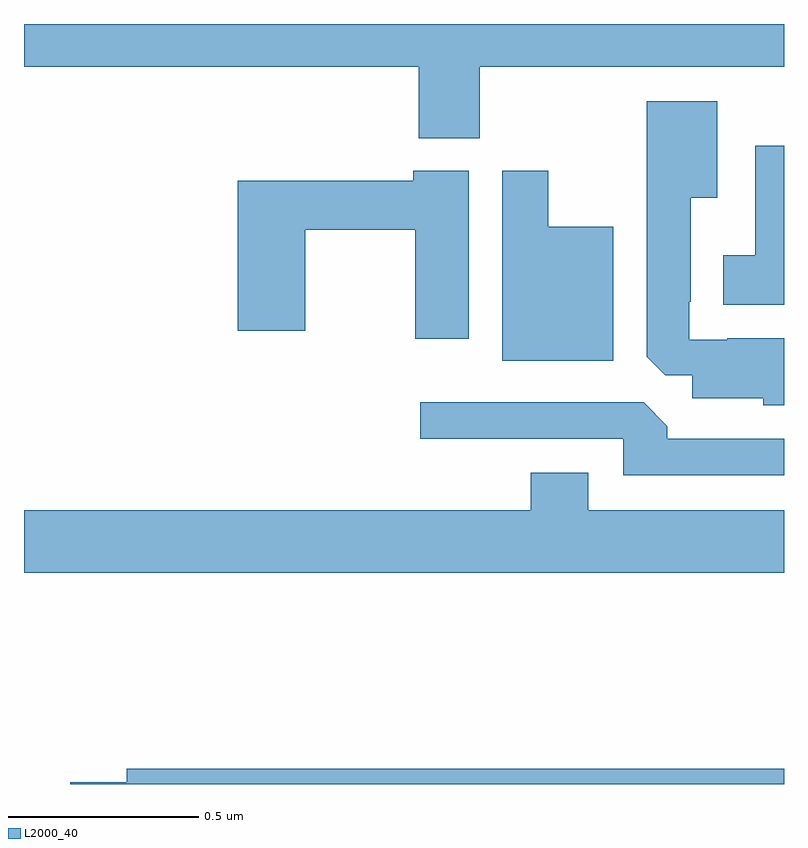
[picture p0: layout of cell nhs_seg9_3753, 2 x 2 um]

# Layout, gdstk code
import gdstk
lib = gdstk.Library(unit=1e-6, precision=1e-09)
def P(c, l, *ps):  # polygons
    for p in ps: c.add(gdstk.Polygon(p, *l))
L2000_40 = (2000, 40)

nhs_seg9_3753 = lib.new_cell('nhs_seg9_3753')
P(nhs_seg9_3753, L2000_40, [(158.199,1228.388),(159,1228.388),(159,1228.5),(157,1228.5),(157,1228.388),(158.039,1228.388),(158.039,1228.199),(158.199,1228.199)],
  [(159,1227.673),(158.851,1227.673),(158.851,1227.669),(158.751,1227.669),(158.751,1227.769),(158.755,1227.769),(158.755,1228.043),(158.824,1228.043),(158.824,1228.297),(158.639,1228.297),(158.639,1227.625),(158.688,1227.576),(158.759,1227.576),(158.759,1227.515),(158.946,1227.515),(158.946,1227.497),(159,1227.497)],
  [(159,1228.18),(158.924,1228.18),(158.924,1227.892),(158.84,1227.892),(158.84,1227.761),(159,1227.761)],
  [(158.17,1228.114),(158.024,1228.114),(158.024,1228.087),(157.562,1228.087),(157.562,1227.693),(157.74,1227.693),(157.74,1227.958),(158.029,1227.958),(158.029,1227.672),(158.17,1227.672)],
  [(158.551,1227.967),(158.38,1227.967),(158.38,1228.114),(158.258,1228.114),(158.258,1227.614),(158.551,1227.614)],
  [(159,1227.408),(158.693,1227.408),(158.693,1227.442),(158.631,1227.504),(158.043,1227.504),(158.043,1227.408),(158.577,1227.408),(158.577,1227.312),(159,1227.312)],
  [(159,1227.22),(158.485,1227.22),(158.485,1227.319),(158.333,1227.319),(158.333,1227.22),(157,1227.22),(157,1227.056),(159,1227.056)],
  [(159,1226.54),(157.271,1226.54),(157.271,1226.504),(157.122,1226.504),(157.122,1226.5),(159,1226.5)])

lib.write_gds('nhs_seg9_3753.gds')
